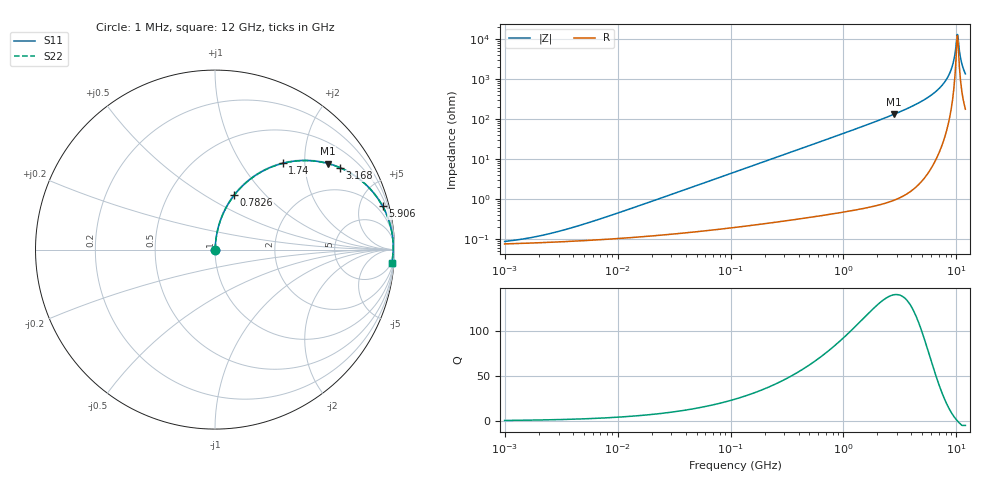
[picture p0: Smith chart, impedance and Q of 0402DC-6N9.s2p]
# MHz  S  MA  R  50
!Freq  MagS11  AngS11  MagS21  AngS21  MagS12  AngS12  MagS22  AngS22
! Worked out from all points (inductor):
!   801 points, 1 MHz to 12 GHz, reference 50 ohm
!   read as one part in series: L = 6.9 nH near 6.632 MHz
!   highest Q = 141 at 2.784 GHz (marker M1), where L = 7.46 nH
!   self-resonance near 10.14 GHz
!   S11 on the Smith chart (normalised r, x): 1 MHz: 1.00, +0.00; 782.6 MHz: 1.01, +0.68; 1.74 GHz: 1.01, +1.55; 3.168 GHz: 1.02, +3.04; 5.906 GHz: 1.11, +7.70; 12 GHz: 5, -27
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1  0.0008713 29.8  0.9992 -0.0  0.9992 -0.0  0.0008713 29.8
2.121332  0.001227 48.4  0.9992 -0.1  0.9992 -0.1  0.001227 48.4
4.828773  0.00228 66.4  0.9991 -0.1  0.9991 -0.1  0.00228 66.4
23.04466  0.01005 82.4  0.9987 -0.6  0.9987 -0.6  0.01005 82.4
109.9775  0.04758 84.9  0.9969 -2.7  0.9969 -2.7  0.04758 84.9
524.8526  0.2217 76.3  0.9717 -12.8  0.9717 -12.8  0.2217 76.3
782.615  0.3218 70.5  0.9428 -18.8  0.9428 -18.8  0.3218 70.5
1740.082  0.6112 51.9  0.7865 -37.7  0.7865 -37.7  0.6112 51.9
2534.394  0.7578 40.3  0.6471 -49.3  0.6471 -49.3  0.7578 40.3
2784.199  0.7909 37.3  0.6064 -52.3  0.6064 -52.3  0.7909 37.3
3168.371  0.8328 33.2  0.5477 -56.4  0.5477 -56.4  0.8328 33.2
4454.824  0.9195 22.7  0.3852 -66.8  0.3852 -66.8  0.9195 22.7
5906.209  0.9645 14.5  0.2504 -74.7  0.2504 -74.7  0.9645 14.5
7297.389  0.984 8.7  0.1518 -79.6  0.1518 -79.6  0.984 8.7
8402.463  0.9908 5.0  0.08756 -81.5  0.08756 -81.5  0.9908 5.0
9122.827  0.9927 2.9  0.05057 -80.2  0.05057 -80.2  0.9927 2.9
9450.161  0.993 2.0  0.03492 -77.5  0.03492 -77.5  0.993 2.0
9904.949  0.993 0.8  0.0149 -61.6  0.0149 -61.6  0.993 0.8
10140.49  0.9928 0.2  0.007658 -20.2  0.007658 -20.2  0.9928 0.2
10504.33  0.9923 -0.8  0.0152 59.2  0.0152 59.2  0.9923 -0.8
11271.67  0.9904 -2.6  0.04556 76.6  0.04556 76.6  0.9904 -2.6
12000  0.9877 -4.2  0.07342 78.3  0.07342 78.3  0.9877 -4.2
